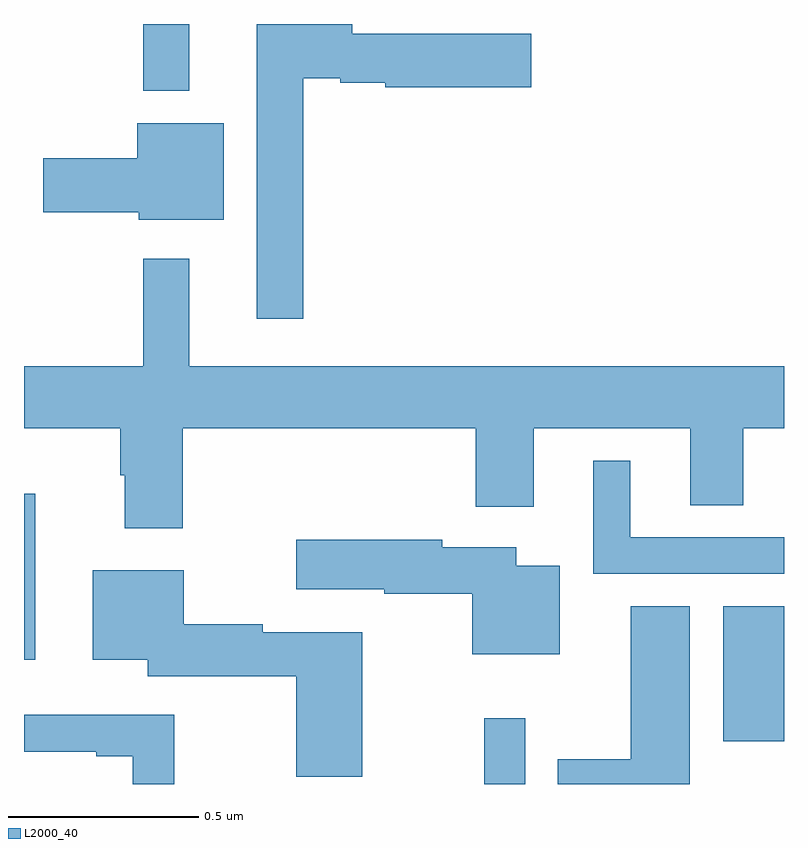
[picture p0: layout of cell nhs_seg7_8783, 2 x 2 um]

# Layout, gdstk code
import gdstk
lib = gdstk.Library(unit=1e-6, precision=1e-09)
def R(c, l, rs):  # rectangles x0, y0, x1, y1
    for r in rs: c.add(gdstk.rectangle(r[:2], r[2:], *l))
def P(c, l, *ps):  # polygons
    for p in ps: c.add(gdstk.Polygon(p, *l))
L2000_40 = (2000, 40)

nhs_seg7_8783 = lib.new_cell('nhs_seg7_8783')
R(nhs_seg7_8783, L2000_40, [(230.211,1013,230.319,1013.173), (230.84,1013.112,231,1013.468), (229,1013.327,229.03,1013.764), (229.314,1014.824,229.435,1015)])
P(nhs_seg7_8783, L2000_40, [(229.735,1014.857),(229.832,1014.857),(229.832,1014.845),(229.95,1014.845),(229.95,1014.833),(230.335,1014.833),(230.335,1014.975),(229.864,1014.975),(229.864,1015),(229.613,1015),(229.613,1014.225),(229.735,1014.225)],
  [(229.525,1014.739),(229.298,1014.739),(229.298,1014.647),(229.05,1014.647),(229.05,1014.505),(229.302,1014.505),(229.302,1014.485),(229.525,1014.485)],
  [(229.418,1013.936),(230.189,1013.936),(230.189,1013.73),(230.341,1013.73),(230.341,1013.936),(230.753,1013.936),(230.753,1013.734),(230.893,1013.734),(230.893,1013.936),(231,1013.936),(231,1014.1),(229.435,1014.1),(229.435,1014.382),(229.314,1014.382),(229.314,1014.1),(229,1014.1),(229,1013.936),(229.253,1013.936),(229.253,1013.813),(229.265,1013.813),(229.265,1013.673),(229.418,1013.673)],
  [(231,1013.649),(230.596,1013.649),(230.596,1013.851),(230.498,1013.851),(230.498,1013.553),(231,1013.553)],
  [(230.41,1013.575),(230.296,1013.575),(230.296,1013.623),(230.1,1013.623),(230.1,1013.643),(229.716,1013.643),(229.716,1013.513),(229.948,1013.513),(229.948,1013.501),(230.18,1013.501),(230.18,1013.342),(230.41,1013.342)],
  [(229.89,1013.4),(229.628,1013.4),(229.628,1013.42),(229.42,1013.42),(229.42,1013.563),(229.181,1013.563),(229.181,1013.327),(229.326,1013.327),(229.326,1013.284),(229.717,1013.284),(229.717,1013.019),(229.89,1013.019)],
  [(230.752,1013.468),(230.597,1013.468),(230.597,1013.065),(230.404,1013.065),(230.404,1013),(230.752,1013)],
  [(229.396,1013.182),(229,1013.182),(229,1013.085),(229.19,1013.085),(229.19,1013.073),(229.286,1013.073),(229.286,1013),(229.396,1013)])

lib.write_gds('nhs_seg7_8783.gds')
